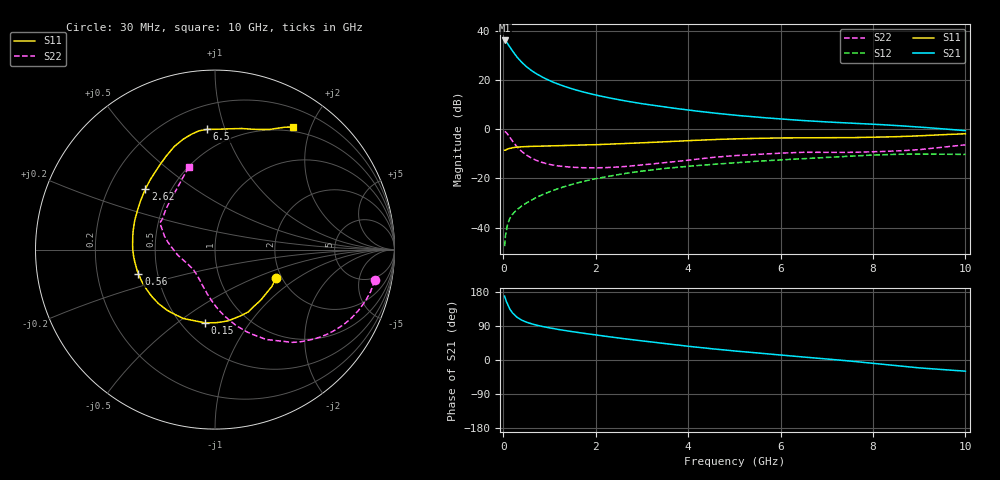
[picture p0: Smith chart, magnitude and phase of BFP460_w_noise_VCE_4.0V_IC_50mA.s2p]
! (c) 2016  Infineon Technologies AG, Munich
! Infineon Technologies  Discrete & RF Semiconductors
! BFP460
! VCE =  4.0 V,  IC =  50 mA
! Common Emitter S-Parameters:  Jan 2016
# GHz  S  MA  R  50
!  f  S11  S21  S12  S22
! GHz  MAG  ANG  MAG  ANG  MAG  ANG  MAG  ANG
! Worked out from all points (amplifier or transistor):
!   229 points, 30 MHz to 10 GHz, reference 50 ohm
!   highest |S21| = 36.1 dB at 30 MHz (marker M1)
!   |S21| within 3 dB of that: start of sweep to 155.6 MHz
!   unconditionally stable (mu >= 1): 1.183 GHz to 7.397 GHz
!   at 280 MHz: K = 0.62, MSG = 31.4 dB, |S12| = -33.0 dB
!   at 1.78 GHz: K = 1.03, MAG = 16.9 dB, |S12| = -21.0 dB
!   at 10 GHz: K = 0.97, MSG = 4.8 dB, |S12| = -10.2 dB
!   lowest NFmin = 1.78 dB at 3.5 GHz
!   S11 on the Smith chart (normalised r, x): 30 MHz: 1.86, -0.69; 150 MHz: 0.65, -0.63; 560 MHz: 0.39, -0.13; 2.62 GHz: 0.36, +0.33; 6.5 GHz: 0.36, +0.87; 10 GHz: 0.44, +1.74
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0.03  0.3754 -25.2  64.11 168.4  0.0042 84.1  0.9057 -10.9
0.05  0.3753 -40.0  61.66 160.7  0.0071 78.6  0.8861 -18.8
0.07  0.384 -56.0  59.29 153.9  0.0091 73.7  0.8514 -26.5
0.09  0.3953 -68.6  56.06 147.8  0.0111 70.6  0.8084 -33.4
0.12  0.4048 -84.7  51.06 139.8  0.0136 66.6  0.7406 -42.4
0.15  0.4117 -98.1  46.21 133.0  0.0158 63.5  0.6737 -50.1
0.2  0.4226 -114.7  39.31 124.3  0.0187 60.6  0.5767 -60.3
0.24  0.4273 -124.7  34.8 119.1  0.0205 59.7  0.5142 -66.4
0.3  0.4355 -136.2  29.35 112.6  0.0233 59.2  0.439 -74.5
0.4  0.4408 -149.4  23.05 105.2  0.0275 60.0  0.3545 -84.2
0.56  0.447 -162.5  17.11 97.7  0.0342 61.7  0.2774 -95.0
0.8  0.455 -175.3  12.14 89.6  0.0447 63.4  0.218 -107.4
1  0.4596 177.2  9.803 84.8  0.0536 63.9  0.1934 -115.1
1.3  0.4672 168.2  7.594 78.5  0.0673 63.4  0.1753 -124.3
1.7  0.4778 158.2  5.846 71.3  0.0854 61.5  0.1658 -133.9
2.62  0.5138 139.0  3.812 56.1  0.1256 54.5  0.1748 -154.8
3.4  0.5517 126.1  2.928 44.8  0.1562 47.6  0.2053 -170.1
5.1  0.6428 105.2  1.904 22.9  0.211 34.0  0.2948 164.1
6.5  0.6714 93.8  1.504 7.8  0.2527 23.3  0.341 154.2
6.8  0.6703 91.0  1.447 4.8  0.2616 21.2  0.3402 153.1
8.4  0.7031 72.5  1.21 -13.7  0.3083 6.7  0.3593 137.5
10  0.8107 57.5  0.94 -29.4  0.3086 -6.0  0.4833 107.4
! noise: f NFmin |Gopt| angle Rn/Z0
0.45  1.86  0.32  -170  0.13
0.9  1.89  0.29  -162  0.14
1.9  1.98  0.4  -140  0.16
3.5  1.78  0.62  -116  0.27
